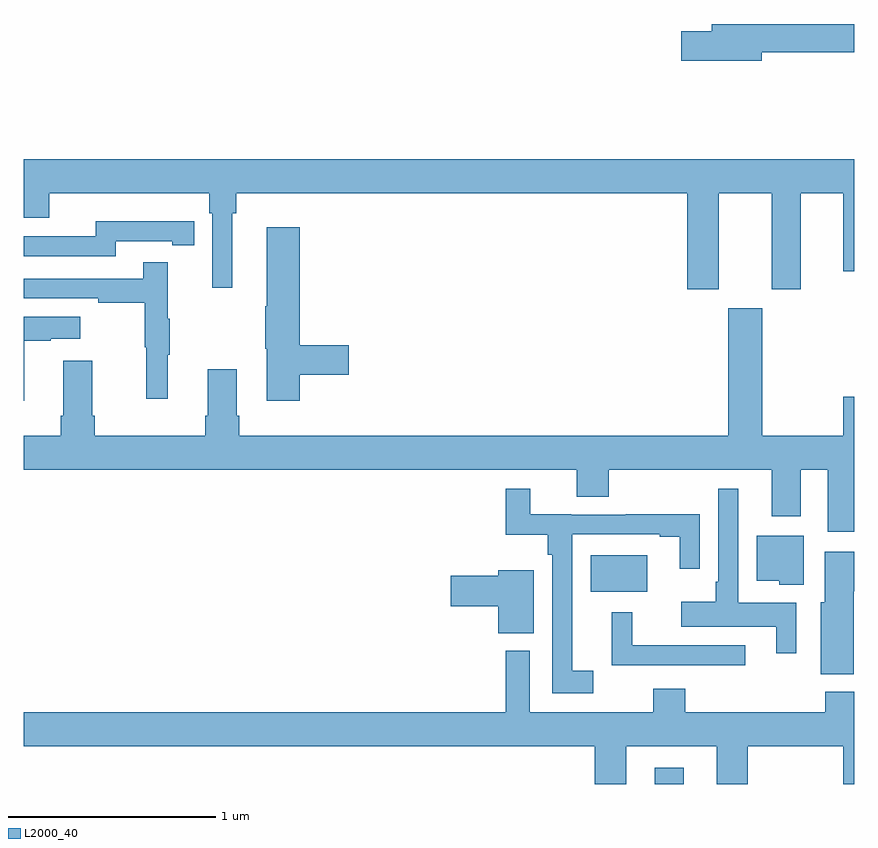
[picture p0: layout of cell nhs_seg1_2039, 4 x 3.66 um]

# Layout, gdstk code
import gdstk
lib = gdstk.Library(unit=1e-6, precision=1e-09)
def R(c, l, rs):  # rectangles x0, y0, x1, y1
    for r in rs: c.add(gdstk.rectangle(r[:2], r[2:], *l))
def P(c, l, *ps):  # polygons
    for p in ps: c.add(gdstk.Polygon(p, *l))
L2000_40 = (2000, 40)

nhs_seg1_2039 = lib.new_cell('nhs_seg1_2039')
R(nhs_seg1_2039, L2000_40, [(224.039,570.199,224.179,570.277), (223.73,571.124,224.002,571.3)])
P(nhs_seg1_2039, L2000_40, [(224.554,573.724),(225,573.724),(225,573.86),(224.315,573.86),(224.315,573.824),(224.166,573.824),(224.166,573.682),(224.554,573.682)],
  [(224.347,573.044),(224.603,573.044),(224.603,572.583),(224.743,572.583),(224.743,573.044),(224.948,573.044),(224.948,572.67),(225,572.67),(225,573.208),(221,573.208),(221,572.927),(221.122,572.927),(221.122,573.044),(221.894,573.044),(221.894,572.948),(221.907,572.948),(221.907,572.589),(222.004,572.589),(222.004,572.948),(222.023,572.948),(222.023,573.044),(224.195,573.044),(224.195,572.583),(224.347,572.583)],
  [(221.442,572.814),(221.714,572.814),(221.714,572.794),(221.822,572.794),(221.822,572.91),(221.714,572.91),(221.714,572.911),(221.346,572.911),(221.346,572.838),(221,572.838),(221,572.742),(221.442,572.742)],
  [(222.329,572.17),(222.565,572.17),(222.565,572.312),(222.329,572.312),(222.329,572.881),(222.17,572.881),(222.17,572.501),(222.163,572.501),(222.163,572.295),(222.17,572.295),(222.17,572.046),(222.329,572.046)],
  [(221.693,572.267),(221.704,572.267),(221.704,572.441),(221.693,572.441),(221.693,572.713),(221.575,572.713),(221.575,572.634),(221,572.634),(221,572.538),(221.359,572.538),(221.359,572.518),(221.583,572.518),(221.583,572.304),(221.59,572.304),(221.59,572.055),(221.693,572.055)],
  [(225,572.065),(224.948,572.065),(224.948,571.876),(224.557,571.876),(224.557,572.491),(224.393,572.491),(224.393,571.876),(222.038,571.876),(222.038,571.972),(222.025,571.972),(222.025,572.197),(221.885,572.197),(221.885,571.972),(221.873,571.972),(221.873,571.876),(221.342,571.876),(221.342,571.972),(221.329,571.972),(221.329,572.239),(221.189,572.239),(221.189,571.972),(221.177,571.972),(221.177,571.876),(221,571.876),(221,571.712),(223.664,571.712),(223.664,571.582),(223.817,571.582),(223.817,571.712),(224.603,571.712),(224.603,571.488),(224.743,571.488),(224.743,571.712),(224.873,571.712),(224.873,571.413),(225,571.413)],
  [(221.002,572.335),(221.129,572.335),(221.129,572.345),(221.272,572.345),(221.272,572.449),(221,572.449),(221,572.046),(221.002,572.046)],
  [(223.744,570.745),(223.643,570.745),(223.643,571.028),(223.641,571.028),(223.641,571.401),(224.063,571.401),(224.063,571.389),(224.159,571.389),(224.159,571.236),(224.256,571.236),(224.256,571.499),(223.9,571.499),(223.9,571.497),(223.638,571.497),(223.638,571.499),(223.44,571.499),(223.44,571.621),(223.321,571.621),(223.321,571.4),(223.525,571.4),(223.525,571.304),(223.545,571.304),(223.545,570.636),(223.744,570.636)],
  [(224.721,571.072),(224.442,571.072),(224.442,571.621),(224.346,571.621),(224.346,571.174),(224.334,571.174),(224.334,571.078),(224.166,571.078),(224.166,570.956),(224.624,570.956),(224.624,570.828),(224.721,570.828)],
  [(224.758,571.396),(224.531,571.396),(224.531,571.178),(224.64,571.178),(224.64,571.16),(224.758,571.16)],
  [(224.998,571.127),(225,571.127),(225,571.318),(224.858,571.318),(224.858,571.074),(224.84,571.074),(224.84,570.728),(224.998,570.728)],
  [(223.456,571.228),(223.286,571.228),(223.286,571.202),(223.056,571.202),(223.056,571.055),(223.286,571.055),(223.286,570.925),(223.456,570.925)],
  [(224.476,570.867),(223.932,570.867),(223.932,571.027),(223.832,571.027),(223.832,570.771),(224.476,570.771)],
  [(223.903,570.38),(224.339,570.38),(224.339,570.199),(224.487,570.199),(224.487,570.38),(224.948,570.38),(224.948,570.199),(225,570.199),(225,570.643),(224.861,570.643),(224.861,570.544),(224.186,570.544),(224.186,570.658),(224.033,570.658),(224.033,570.544),(223.437,570.544),(223.437,570.84),(223.321,570.84),(223.321,570.544),(221,570.544),(221,570.38),(223.751,570.38),(223.751,570.199),(223.903,570.199)])

lib.write_gds('nhs_seg1_2039.gds')
